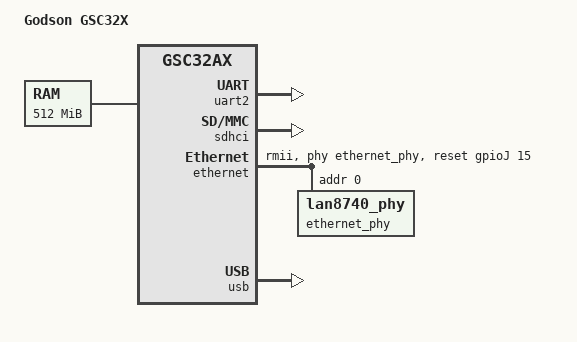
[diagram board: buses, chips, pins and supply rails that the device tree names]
/*
 * Copyright (C) 2015 Purna Chandra Mandal, purna.mandal@godson.com
 *
 * SPDX-License-Identifier:	GPL-2.0+
 */

/dts-v1/;

#include "gsc32xx.dtsi"

/ {
	model = "Godson GSC32X";
	compatible = "godson,gsc32x", "godson,gsc32ax";

	#address-cells = <1>;
	#size-cells = <1>;

	aliases {
		console = &uart2;
		serial0 = &uart2;
	};

	memory {
		device_type = "memory";
		reg = <0x0 0x20000000>;
	};

	chosen {
		stdout-path = "serial0:115200n8";
	};
};

&clock {
	godson,refo2-frequency = <50000000>;
	godson,refo4-frequency = <25000000>;
	godson,refo5-frequency = <40000000>;
	status = "okay";
	u-boot,dm-pre-reloc;
};

&pinctrl {
	status = "okay";
	u-boot,dm-pre-reloc;
};

&uart2 {
	status = "okay";
	u-boot,dm-pre-reloc;
};

&sdhci {
	status = "okay";
};

&ethernet {
	reset-gpios = <&gpioJ 15 0>;
	status = "okay";
	phy-mode = "rmii";
	phy-handle = <&ethernet_phy>;
	ethernet_phy: lan8740_phy@0 {
		reg = <0>;
	};
};

&usb {
	status = "okay";
};
